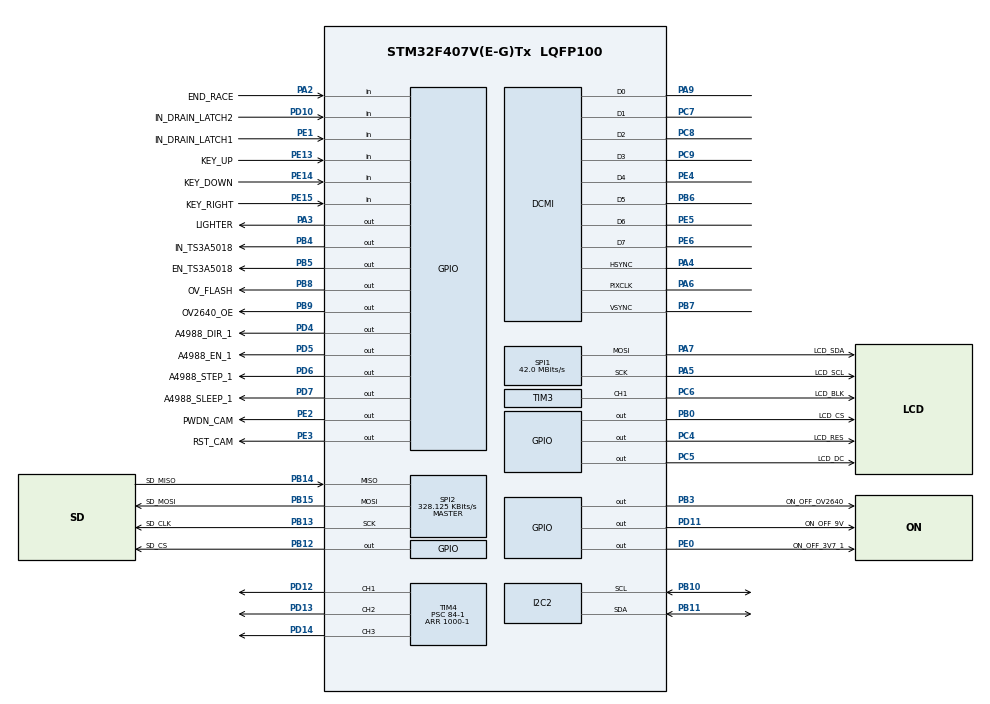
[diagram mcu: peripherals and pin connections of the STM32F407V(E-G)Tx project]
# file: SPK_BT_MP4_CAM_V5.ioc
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DCMI.PCKPolarity=DCMI_PCKPOLARITY_RISING
Dma.DCMI.3.Direction=DMA_PERIPH_TO_MEMORY
Dma.DCMI.3.FIFOMode=DMA_FIFOMODE_DISABLE
Dma.DCMI.3.Instance=DMA2_Stream1
Dma.DCMI.3.MemDataAlignment=DMA_MDATAALIGN_WORD
Dma.DCMI.3.MemInc=DMA_MINC_ENABLE
Dma.DCMI.3.Mode=DMA_NORMAL
Dma.DCMI.3.PeriphDataAlignment=DMA_PDATAALIGN_WORD
Dma.DCMI.3.PeriphInc=DMA_PINC_DISABLE
Dma.DCMI.3.Priority=DMA_PRIORITY_LOW
Dma.Request0=SPI1_TX
Dma.Request1=SPI2_RX
Dma.Request2=SPI2_TX
Dma.Request3=DCMI
Dma.SPI1_TX.0.Direction=DMA_MEMORY_TO_PERIPH
Dma.SPI1_TX.0.FIFOMode=DMA_FIFOMODE_ENABLE
Dma.SPI1_TX.0.FIFOThreshold=DMA_FIFO_THRESHOLD_FULL
Dma.SPI1_TX.0.Instance=DMA2_Stream3
Dma.SPI1_TX.0.MemBurst=DMA_MBURST_INC8
Dma.SPI1_TX.0.MemDataAlignment=DMA_MDATAALIGN_HALFWORD
Dma.SPI1_TX.0.MemInc=DMA_MINC_ENABLE
Dma.SPI1_TX.0.Mode=DMA_NORMAL
Dma.SPI1_TX.0.PeriphBurst=DMA_PBURST_SINGLE
Dma.SPI1_TX.0.PeriphDataAlignment=DMA_PDATAALIGN_HALFWORD
Dma.SPI1_TX.0.PeriphInc=DMA_PINC_DISABLE
Dma.SPI1_TX.0.Priority=DMA_PRIORITY_LOW
Dma.SPI2_RX.1.Direction=DMA_PERIPH_TO_MEMORY
Dma.SPI2_RX.1.FIFOMode=DMA_FIFOMODE_ENABLE
Dma.SPI2_RX.1.FIFOThreshold=DMA_FIFO_THRESHOLD_FULL
Dma.SPI2_RX.1.Instance=DMA1_Stream3
Dma.SPI2_RX.1.MemBurst=DMA_MBURST_INC8
Dma.SPI2_RX.1.MemDataAlignment=DMA_MDATAALIGN_BYTE
Dma.SPI2_RX.1.MemInc=DMA_MINC_ENABLE
Dma.SPI2_RX.1.Mode=DMA_NORMAL
Dma.SPI2_RX.1.PeriphBurst=DMA_PBURST_SINGLE
Dma.SPI2_RX.1.PeriphDataAlignment=DMA_PDATAALIGN_BYTE
Dma.SPI2_RX.1.PeriphInc=DMA_PINC_DISABLE
Dma.SPI2_RX.1.Priority=DMA_PRIORITY_MEDIUM
Dma.SPI2_TX.2.Direction=DMA_MEMORY_TO_PERIPH
Dma.SPI2_TX.2.FIFOMode=DMA_FIFOMODE_ENABLE
Dma.SPI2_TX.2.FIFOThreshold=DMA_FIFO_THRESHOLD_FULL
Dma.SPI2_TX.2.Instance=DMA1_Stream4
Dma.SPI2_TX.2.MemBurst=DMA_MBURST_INC8
Dma.SPI2_TX.2.MemDataAlignment=DMA_MDATAALIGN_BYTE
Dma.SPI2_TX.2.MemInc=DMA_MINC_ENABLE
Dma.SPI2_TX.2.Mode=DMA_NORMAL
Dma.SPI2_TX.2.PeriphBurst=DMA_PBURST_SINGLE
Dma.SPI2_TX.2.PeriphDataAlignment=DMA_PDATAALIGN_BYTE
Dma.SPI2_TX.2.PeriphInc=DMA_PINC_DISABLE
Dma.SPI2_TX.2.Priority=DMA_PRIORITY_MEDIUM
Mcu.Family=STM32F4
Mcu.Name=STM32F407V(E-G)Tx
Mcu.Package=LQFP100
NVIC.DCMI_IRQn=true\:0\:0\:true\:false\:true\:true\:true\:true
NVIC.DMA1_Stream3_IRQn=true\:2\:0\:true\:false\:true\:false\:true\:true
NVIC.DMA1_Stream4_IRQn=true\:2\:0\:true\:false\:true\:false\:true\:true
NVIC.DMA2_Stream1_IRQn=true\:0\:0\:true\:false\:true\:false\:true\:true
NVIC.DMA2_Stream3_IRQn=true\:3\:0\:true\:false\:true\:false\:true\:true
NVIC.PriorityGroup=NVIC_PRIORITYGROUP_4
NVIC.TIM1_UP_TIM10_IRQn=true\:0\:0\:false\:false\:true\:true\:true\:true
NVIC.TIM4_IRQn=true\:0\:0\:false\:false\:true\:true\:true\:true
PA13.Mode=Serial_Wire
PA13.Signal=SYS_JTMS-SWDIO
PA14.Mode=Serial_Wire
PA14.Signal=SYS_JTCK-SWCLK
PA15.Signal=I2S3_WS
PA2.GPIO_Label=END_RACE
PA2.GPIO_PuPd=GPIO_PULLDOWN
PA2.Signal=GPIO_Input
PA3.GPIO_Label=LIGHTER
PA3.Signal=GPIO_Output
PA4.GPIO_PuPd=GPIO_NOPULL
PA4.GPIO_Speed=GPIO_SPEED_FREQ_VERY_HIGH
PA4.Mode=Slave_8_bits_External_Synchro
PA4.Signal=DCMI_HSYNC
PA5.GPIO_Label=LCD_SCL
PA5.GPIO_PuPd=GPIO_PULLUP
PA5.Mode=TX_Only_Simplex_Unidirect_Master
PA5.Signal=SPI1_SCK
PA6.GPIO_PuPd=GPIO_NOPULL
PA6.GPIO_Speed=GPIO_SPEED_FREQ_VERY_HIGH
PA6.Mode=Slave_8_bits_External_Synchro
PA6.Signal=DCMI_PIXCLK
PA7.GPIO_Label=LCD_SDA
PA7.GPIO_PuPd=GPIO_PULLUP
PA7.Mode=TX_Only_Simplex_Unidirect_Master
PA7.Signal=SPI1_MOSI
PA9.GPIO_PuPd=GPIO_NOPULL
PA9.GPIO_Speed=GPIO_SPEED_FREQ_VERY_HIGH
PA9.Mode=Slave_8_bits_External_Synchro
PA9.Signal=DCMI_D0
PB0.GPIO_Label=LCD_CS
PB0.GPIO_PuPd=GPIO_PULLUP
PB0.GPIO_Speed=GPIO_SPEED_FREQ_HIGH
PB0.PinState=GPIO_PIN_SET
PB0.Signal=GPIO_Output
PB10.GPIO_Pu=GPIO_NOPULL
PB10.Mode=I2C
PB10.Signal=I2C2_SCL
PB11.GPIO_Pu=GPIO_NOPULL
PB11.Mode=I2C
PB11.Signal=I2C2_SDA
PB12.GPIO_Label=SD_CS
PB12.GPIO_PuPd=GPIO_PULLUP
PB12.GPIO_Speed=GPIO_SPEED_FREQ_HIGH
PB12.PinState=GPIO_PIN_SET
PB12.Signal=GPIO_Output
PB13.GPIO_Label=SD_CLK
PB13.GPIO_PuPd=GPIO_PULLUP
PB13.Mode=Full_Duplex_Master
PB13.Signal=SPI2_SCK
PB14.GPIO_Label=SD_MISO
PB14.GPIO_PuPd=GPIO_PULLUP
PB14.Mode=Full_Duplex_Master
PB14.Signal=SPI2_MISO
PB15.GPIO_Label=SD_MOSI
PB15.GPIO_PuPd=GPIO_PULLUP
PB15.Mode=Full_Duplex_Master
PB15.Signal=SPI2_MOSI
PB3.GPIO_Label=ON_OFF_OV2640
PB3.PinState=GPIO_PIN_RESET
PB3.Signal=GPIO_Output
PB4.GPIO_Label=IN_TS3A5018
PB4.Signal=GPIO_Output
PB5.GPIO_Label=EN_TS3A5018
PB5.Signal=GPIO_Output
PB6.GPIO_PuPd=GPIO_NOPULL
PB6.GPIO_Speed=GPIO_SPEED_FREQ_VERY_HIGH
PB6.Mode=Slave_8_bits_External_Synchro
PB6.Signal=DCMI_D5
PB7.GPIO_PuPd=GPIO_NOPULL
PB7.GPIO_Speed=GPIO_SPEED_FREQ_VERY_HIGH
PB7.Mode=Slave_8_bits_External_Synchro
PB7.Signal=DCMI_VSYNC
PB8.GPIO_Label=OV_FLASH
PB8.Signal=GPIO_Output
PB9.GPIO_Label=OV2640_OE
PB9.Signal=GPIO_Output
PC10.Signal=I2S3_CK
PC12.Signal=I2S3_SD
PC4.GPIO_Label=LCD_RES
PC4.GPIO_Speed=GPIO_SPEED_FREQ_HIGH
PC4.PinState=GPIO_PIN_SET
PC4.Signal=GPIO_Output
PC5.GPIO_Label=LCD_DC
PC5.GPIO_Speed=GPIO_SPEED_FREQ_HIGH
PC5.PinState=GPIO_PIN_SET
PC5.Signal=GPIO_Output
PC6.GPIO_Label=LCD_BLK
PC6.Signal=S_TIM3_CH1
PC7.GPIO_PuPd=GPIO_NOPULL
PC7.GPIO_Speed=GPIO_SPEED_FREQ_VERY_HIGH
PC7.Mode=Slave_8_bits_External_Synchro
PC7.Signal=DCMI_D1
PC8.GPIO_PuPd=GPIO_NOPULL
PC8.GPIO_Speed=GPIO_SPEED_FREQ_VERY_HIGH
PC8.Mode=Slave_8_bits_External_Synchro
PC8.Signal=DCMI_D2
PC9.GPIO_PuPd=GPIO_NOPULL
PC9.GPIO_Speed=GPIO_SPEED_FREQ_VERY_HIGH
PC9.Mode=Slave_8_bits_External_Synchro
PC9.Signal=DCMI_D3
PD10.GPIO_Label=IN_DRAIN_LATCH2
PD10.GPIO_PuPd=GPIO_PULLUP
PD10.Signal=GPIO_Input
PD11.GPIO_Label=ON_OFF_9V
PD11.PinState=GPIO_PIN_RESET
PD11.Signal=GPIO_Output
PD12.Signal=S_TIM4_CH1
PD13.Signal=S_TIM4_CH2
PD14.Signal=S_TIM4_CH3
PD4.GPIO_Label=A4988_DIR_1
PD4.Signal=GPIO_Output
PD5.GPIO_Label=A4988_EN_1
PD5.PinState=GPIO_PIN_SET
PD5.Signal=GPIO_Output
PD6.GPIO_Label=A4988_STEP_1
PD6.Signal=GPIO_Output
PD7.GPIO_Label=A4988_SLEEP_1
PD7.Signal=GPIO_Output
PE0.GPIO_Label=ON_OFF_3V7_1
PE0.Signal=GPIO_Output
PE1.GPIO_Label=IN_DRAIN_LATCH1
PE1.GPIO_PuPd=GPIO_PULLUP
PE1.Signal=GPIO_Input
PE13.GPIO_Label=KEY_UP
PE13.GPIO_Mode=GPIO_MODE_INPUT
PE13.GPIO_PuPd=GPIO_PULLUP
PE13.Signal=GPIO_Input
PE14.GPIO_Label=KEY_DOWN
PE14.GPIO_Mode=GPIO_MODE_INPUT
PE14.GPIO_PuPd=GPIO_PULLUP
PE14.Signal=GPIO_Input
PE15.GPIO_Label=KEY_RIGHT
PE15.GPIO_Mode=GPIO_MODE_INPUT
PE15.GPIO_PuPd=GPIO_PULLUP
PE15.Signal=GPIO_Input
PE2.GPIO_Label=PWDN_CAM
PE2.GPIO_Speed=GPIO_SPEED_FREQ_VERY_HIGH
PE2.PinState=GPIO_PIN_SET
PE2.Signal=GPIO_Output
PE3.GPIO_Label=RST_CAM
PE3.GPIO_PuPd=GPIO_NOPULL
PE3.GPIO_Speed=GPIO_SPEED_FREQ_VERY_HIGH
PE3.PinState=GPIO_PIN_SET
PE3.Signal=GPIO_Output
PE4.GPIO_PuPd=GPIO_NOPULL
PE4.GPIO_Speed=GPIO_SPEED_FREQ_VERY_HIGH
PE4.Mode=Slave_8_bits_External_Synchro
PE4.Signal=DCMI_D4
PE5.GPIO_PuPd=GPIO_NOPULL
PE5.GPIO_Speed=GPIO_SPEED_FREQ_VERY_HIGH
PE5.Mode=Slave_8_bits_External_Synchro
PE5.Signal=DCMI_D6
PE6.GPIO_PuPd=GPIO_NOPULL
PE6.GPIO_Speed=GPIO_SPEED_FREQ_VERY_HIGH
PE6.Mode=Slave_8_bits_External_Synchro
PE6.Signal=DCMI_D7
PH0-OSC_IN.Mode=HSE-External-Oscillator
PH0-OSC_IN.Signal=RCC_OSC_IN
PH1-OSC_OUT.Mode=HSE-External-Oscillator
PH1-OSC_OUT.Signal=RCC_OSC_OUT
ProjectManager.HeapSize=0x200
ProjectManager.StackSize=0x400
ProjectManager.TargetToolchain=STM32CubeIDE
RCC.48MHZClocksFreq_Value=84000000
RCC.AHBFreq_Value=168000000
RCC.APB1CLKDivider=RCC_HCLK_DIV4
RCC.APB1Freq_Value=42000000
RCC.APB1TimFreq_Value=84000000
RCC.APB2CLKDivider=RCC_HCLK_DIV2
RCC.APB2Freq_Value=84000000
RCC.APB2TimFreq_Value=168000000
RCC.CortexFreq_Value=168000000
RCC.EnbaleCSS=true
RCC.HCLKFreq_Value=168000000
RCC.HSE_VALUE=8000000
RCC.HSI_VALUE=16000000
RCC.LSE_VALUE=32768
RCC.PLLM=4
RCC.PLLN=168
RCC.PLLSourceVirtual=RCC_PLLSOURCE_HSE
RCC.RCC_MCO1Source=RCC_MCO1SOURCE_PLLCLK
RCC.SYSCLKFreq_VALUE=168000000
RCC.SYSCLKSource=RCC_SYSCLKSOURCE_PLLCLK
RCC.VCOOutputFreq_Value=336000000
SH.S_TIM3_CH1.0=TIM3_CH1,PWM Generation1 CH1
SH.S_TIM4_CH1.0=TIM4_CH1,PWM Generation1 CH1
SH.S_TIM4_CH2.0=TIM4_CH2,PWM Generation2 CH2
SH.S_TIM4_CH3.0=TIM4_CH3,PWM Generation3 CH3
SPI1.BaudRatePrescaler=SPI_BAUDRATEPRESCALER_2
SPI1.CLKPhase=SPI_PHASE_2EDGE
SPI1.CLKPolarity=SPI_POLARITY_HIGH
SPI1.CalculateBaudRate=42.0 MBits/s
SPI1.DataSize=SPI_DATASIZE_16BIT
SPI1.Direction=SPI_DIRECTION_2LINES
SPI1.Mode=SPI_MODE_MASTER
SPI1.VirtualType=VM_MASTER
SPI2.BaudRatePrescaler=SPI_BAUDRATEPRESCALER_128
SPI2.CalculateBaudRate=328.125 KBits/s
SPI2.Direction=SPI_DIRECTION_2LINES
SPI2.Mode=SPI_MODE_MASTER
SPI2.VirtualType=VM_MASTER
TIM10.Period=420-1
TIM10.Prescaler=1000-1
TIM3.Channel-PWM\ Generation1\ CH1=TIM_CHANNEL_1
TIM3.Period=210-1
TIM3.Prescaler=1000-1
TIM3.Pulse-PWM\ Generation1\ CH1=105
TIM4.Channel-PWM\ Generation1\ CH1=TIM_CHANNEL_1
TIM4.Channel-PWM\ Generation2\ CH2=TIM_CHANNEL_2
TIM4.Channel-PWM\ Generation3\ CH3=TIM_CHANNEL_3
TIM4.Period=1000-1
TIM4.Prescaler=84-1
VP_TIM10_VS_ClockSourceINT.Mode=Enable_Timer
board=custom

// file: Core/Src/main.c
/* USER CODE BEGIN Header */
/**
  ******************************************************************************
  * @file           : main.c
  * @brief          : Main program body
  ******************************************************************************
  * @attention
  *
  * Copyright (c) 2026 STMicroelectronics.
  * All rights reserved.
  *
  * This software is licensed under terms that can be found in the LICENSE file
  * in the root directory of this software component.
  * If no LICENSE file comes with this software, it is provided AS-IS.
  *
  ******************************************************************************
  */
/* USER CODE END Header */
#include "main.h"

/* USER CODE BEGIN Includes */
#include "display.h" 		//display driver
#include "st7789.h"
#include "ili9341.h" 		//display support based on ili9341 controller
#include "pcm5102.h" 		//DAC driver PCM5102
#include "ff.h"		 		//FatFS library
#include "avi.h"	 		//AVI player
#include "filemanager.h"	//file manager
#include "keyboard.h"		//module for working with buttons

#include "common.h"
#include "ov2640.h"
#include "Anglas_MotorPAP.h"
/* USER CODE END Includes */

/* USER CODE BEGIN PTD */
//счетчик "системного времени", мс
volatile uint32_t millis = 0;

//Переменные для библиотеки FatFs
char Path[4];
FATFS FatFS;

/* USER CODE END PTD */

/* USER CODE BEGIN PD */
#define MAX_PICTURE_BUFF 54400  //320x170
uint16_t pBuffer[MAX_PICTURE_BUFF];
/* USER CODE END PD */

DCMI_HandleTypeDef hdcmi;
DMA_HandleTypeDef hdma_dcmi;

I2C_HandleTypeDef hi2c2;

TIM_HandleTypeDef htim4;

void SystemClock_Config(void);
static void MX_GPIO_Init(void);
static void MX_DMA_Init(void);
static void MX_SPI1_Init(void);
static void MX_TIM3_Init(void);
static void MX_SPI2_Init(void);
static void MX_TIM10_Init(void);
static void MX_DCMI_Init(void);
static void MX_I2C2_Init(void);
static void MX_TIM4_Init(void);
/* USER CODE BEGIN PFP */
void PWM_set_Freq_DutyCycle(uint32_t canal, uint16_t freq, uint8_t duty);
void delay_us(uint32_t time);
/* USER CODE END PFP */

/* USER CODE BEGIN 0 */
static void DWT_init (void)
{
	if (!(CoreDebug->DEMCR & CoreDebug_DEMCR_TRCENA_Msk))	{
		CoreDebug->DEMCR |= CoreDebug_DEMCR_TRCENA_Msk;
	#ifdef __CORE_CM7_H_GENERIC
	        DWT->LAR = 0xC5ACCE55;  //unlocking access to the DWT register
	#endif
	   DWT->CYCCNT = 0;
	   DWT->CTRL |= DWT_CTRL_CYCCNTENA_Msk;
	}
}
/* USER CODE END 0 */

int main(void)
{

  /* USER CODE BEGIN 1 */
  LL_FLASH_SetLatency(LL_FLASH_LATENCY_5);   // Ajusta la latencia de la Flash para 168 MHz (evita fallos)
  LL_FLASH_EnablePrefetch();                 // Adelanta instrucciones desde Flash (mejor rendimiento)
  LL_FLASH_EnableInstCache();                // Cachea instrucciones (CPU más rápida)
  LL_FLASH_EnableDataCache();                // Cachea datos desde Flash (accesos más rápidos)
  /* USER CODE END 1 */

  /* MCU Configuration--------------------------------------------------------*/

  /* Reset of all peripherals, Initializes the Flash interface and the Systick. */
  HAL_Init();

  /* Configure the system clock */
  SystemClock_Config();

  /* USER CODE BEGIN SysInit */
  //настраиваем системный таймер (прерывания 1000 раз в секунду)
  SysTick_Config(SystemCoreClock/1000);
  /* USER CODE END SysInit */

  /* Initialize all configured peripherals */
  MX_GPIO_Init();
  MX_DMA_Init();
  MX_SPI1_Init();
  MX_TIM3_Init();
  MX_SPI2_Init();
  MX_TIM10_Init();
  MX_DCMI_Init();
  MX_I2C2_Init();
  MX_TIM4_Init();
  /* USER CODE BEGIN 2 */
  /* ---------------------------- PULSADORES ------------------------------- */
  //KEYB_Add_Button(KEY_LEFT_GPIO_Port, KEY_LEFT_Pin, KEYB_LEFT, KEYB_BUTTON_ACTIVE);
  KEYB_Add_Button(KEY_RIGHT_GPIO_Port, KEY_RIGHT_Pin, KEYB_RIGHT, KEYB_BUTTON_ACTIVE);
  KEYB_Add_Button(KEY_UP_GPIO_Port, KEY_UP_Pin, KEYB_UP, KEYB_BUTTON_ACTIVE);
  KEYB_Add_Button(KEY_DOWN_GPIO_Port, KEY_DOWN_Pin, KEYB_DOWN, KEYB_BUTTON_ACTIVE);

  TIM10->DIER |= TIM_DIER_UIE;
  TIM10->CR1  |= TIM_CR1_CEN;
  /* ------------------------------------------------------------------------------- */

  //Initialize I2S3
  Init_DAC();
  //Setup_DAC(SPI3, 44100, LL_I2S_DATAFORMAT_16B);

  DWT_init();

  //-------------------Setting parameters and initializing the display ---------------------
  LCD_BackLight_data bl_dat = { .htim_bk = TIM3,
								.channel_htim_bk = LL_TIM_CHANNEL_CH1,
								.blk_port = 0,
								.blk_pin = 0,
								.bk_percent = 100 };

  LCD_DMA_TypeDef hdma_spi1_tx = { .dma = DMA2,
								   .stream = LL_DMA_STREAM_3 };

  LCD_SPI_Connected_data spi_dat = { .spi = SPI1,
									 .dma_tx = hdma_spi1_tx,
									 .reset_port = LCD_RES_GPIO_Port,
									 .reset_pin = LCD_RES_Pin,
									 .dc_port = LCD_DC_GPIO_Port,
									 .dc_pin = LCD_DC_Pin,
									 .cs_port = LCD_CS_GPIO_Port,
									 .cs_pin = LCD_CS_Pin  };
  #ifndef LCD_DYNAMIC_MEM
  	  LCD_Handler lcd1;
  #endif

  //For display on controller ST7789 170x320
  //ffmpeg -i che.mp4 -c:a mp3 -c:v mjpeg -s 320x170 -r 23.98 -q 10 che.avi
  LCD = LCD_DisplayAdd( LCD,
  #ifndef LCD_DYNAMIC_MEM
						&lcd1,
  #endif
						170,//170
						320,//320
						ST7789_CONTROLLER_WIDTH,
						ST7789_CONTROLLER_HEIGHT,
						//queda original
						35,
						0,
						PAGE_ORIENTATION_LANDSCAPE_MIRROR,

						//pruebas para tener buena orientacion
						/*-35,
						0,
						PAGE_ORIENTATION_LANDSCAPE,*/

						ST7789_Init,
						ST7789_SetWindow,
						ST7789_SleepIn,
						ST7789_SleepOut,
						&spi_dat,
						LCD_DATA_16BIT_BUS,
						bl_dat);

  /*
  //For display on controller ST7789 135x240
  //ffmpeg -i che.mp4 -c:a mp3 -c:v mjpeg -s 240x135 -r 23.98 -q 10 che.avi
  LCD = LCD_DisplayAdd( LCD,
  #ifndef LCD_DYNAMIC_MEM
						&lcd1,
  #endif
						135,//170
						240,//320
						ST7789_CONTROLLER_WIDTH,
						ST7789_CONTROLLER_HEIGHT,
						//Задаем смещение по ширине и высоте для нестандартных или бракованных дисплеев:
						-53,//-35
						40,//0
						PAGE_ORIENTATION_LANDSCAPE,// PAGE_ORIENTATION_LANDSCAPE
						ST7789_Init,
						ST7789_SetWindow,
						ST7789_SleepIn,
						ST7789_SleepOut,
						&spi_dat,
						LCD_DATA_16BIT_BUS,
						bl_dat);
  */

  /*
  //For display on controller ILI9341
  LCD = LCD_DisplayAdd( LCD,
  #ifndef LCD_DYNAMIC_MEM
						&lcd1,
  #endif
						  320,
						  240,
						  ILI9341_CONTROLLER_WIDTH,
						  ILI9341_CONTROLLER_HEIGHT,
						  //Set the offset in width and height for non-standard or defective displays:
						  0,		//display matrix width offset
						  0,		//display matrix height offset
						  //PAGE_ORIENTATION_PORTRAIT,
						  //PAGE_ORIENTATION_PORTRAIT_MIRROR,
						  PAGE_ORIENTATION_LANDSCAPE_MIRROR,
						  ILI9341_Init,
						  ILI9341_SetWindow,
						  ILI9341_SleepIn,
						  ILI9341_SleepOut,
						  &spi_dat,
						  LCD_DATA_16BIT_BUS,
						  bl_dat );
  */

  LCD_Handler *lcd = LCD; //pointer to the first display in the list
  LCD_Init(lcd);
  LCD_Fill(lcd, 0x319bb1);
  //------------------------------------------------------------------------------------------

  //----------------------------------- Mounting the disc -----------------------------------
  (void)f_mount(&FatFS, Path, 0);
  //------------------------------------------------------------------------------------------

  /* ----------------------------Setting up a file manager ---------------------------- */
  /* Define a color scheme */
  File_Manager_Color_Scheme color_scheme_pl = { COLOR_YELLOW,		/* directory name text color */
												COLOR_WHITE,		/* file name text color */
												COLOR_GREEN,		/* text color of the selected file/directory */
												0x319bb1,			/* manager window background color (for empty lines) */
												0x319bb1,			/* background color of even rows */
												0x319bb1,			/* background color of odd rows */
												COLOR_LIGHTGREY,	/* cursor color of the current file/directory */
												COLOR_LIGHTGREY,	/* vertical scroll slider color */
												0x319bb1,			/* vertical scroll bar color */
												1					/* cursor color flag:
																		  0 - the text of the selected file/directory is circled
																			  cursor color rectangle (cursor_color).
																		  >0 -the text background of the selected file/directory is equal to
																			  cursor color (cursor_color) */
												};

  File_Manager_Handler *fm = FileManagerNew();	/* Creating a File Manager Handler */
  fm->SetDisplay(fm, lcd);						/* Display showing the file manager (pointer) */
  fm->SetWin(fm, 6, 0, lcd->Width-6, lcd->Height);/* File manager window options:
													   - horizontal position of the upper left corner of the window;
													   - vertical position of the upper left corner of the window;
													   - window width;
													   - window height. */
  fm->SetColor(fm, &color_scheme_pl);				 /* Color scheme (index) */
  fm->SetFont(fm, &Font_12x20);					 /* Font (pointer) */
  fm->SetKeys(fm, KEYB_UP, KEYB_DOWN, KEYB_RIGHT); /* Control buttons:
														- button bit number up;
														- button bit number down;
														- bit number of the enter/select button. */
  //-----------------------------------------------------------------------------------------

  //Splash screen with information about the program and author
  //AVIIntro(lcd);
  uint8_t f_popup = 1;

  //LL_GPIO_ResetOutputPin(GPIOE, IN_TS3A5018_Pin);LL_mDelay(20);//AUDIO BT
  //LL_GPIO_SetOutputPin(IN_TS3A5018_GPIO_Port, IN_TS3A5018_Pin);LL_mDelay(20);//AUDIO STM32

  //LL_GPIO_SetOutputPin(ON_OFF_3V7_1_GPIO_Port, ON_OFF_3V7_1_Pin);LL_mDelay(100);//ENCIENDO PARLANTE
  //LL_GPIO_ResetOutputPin(GPIOD, ON_OFF_3V7_1_Pin);LL_mDelay(100);//APAGO PARLANTE

  //LL_GPIO_SetOutputPin(GPIOD, ON_OFF_3V7_2_Pin);LL_mDelay(100);//ENCIENDO MT3608 +9V
  //LL_GPIO_ResetOutputPin(GPIOD, ON_OFF_3V7_1_Pin);LL_mDelay(100);//APAGO MT3608 +9V

  //para probar el step up de 9v
//  while(1){
//	if (LL_GPIO_IsInputPinSet(GPIOE, KEY_UP_Pin) == 0) {
//		LL_GPIO_ResetOutputPin(GPIOD, ON_OFF_3V7_2_Pin);LL_mDelay(250);//ENCIENDO MT3608 +9V
//		LL_mDelay(250);
//	}
//	if (LL_GPIO_IsInputPinSet(GPIOE, KEY_DOWN_Pin) == 0) {
//		LL_GPIO_SetOutputPin(GPIOD, ON_OFF_3V7_2_Pin);LL_mDelay(250);//ENCIENDO MT3608 +9V
//	}
//  }

  //uint32_t keys=0;
  //keys = KEYB_Inkeys();
  //while (keys & (1 << KEYB_RIGHT));

  while(!KEYB_kbhit());

  //LL_GPIO_SetOutputPin(IN_TS3A5018_GPIO_Port, IN_TS3A5018_Pin);LL_mDelay(20);//AUDIO STM32

  //Todo esto es para encender e iniciar la camara
  LL_GPIO_SetOutputPin(OV2640_OE_GPIO_Port, OV2640_OE_Pin);LL_mDelay(50);//ON cristal activo 24mhz
  LL_GPIO_SetOutputPin(ON_OFF_OV2640_GPIO_Port, ON_OFF_OV2640_Pin);LL_mDelay(50);//enciendo reguladores de la camara
  ov2640_Init(0x60, CAMERA_Monitor);

  LL_GPIO_ResetOutputPin(GPIOE, IN_TS3A5018_Pin);LL_mDelay(20);//AUDIO BT
  LL_GPIO_SetOutputPin(ON_OFF_3V7_1_GPIO_Port, ON_OFF_3V7_1_Pin);LL_mDelay(100);//ENCIENDO PARLANTE
  LL_GPIO_SetOutputPin(ON_OFF_9V_GPIO_Port, ON_OFF_9V_Pin);//enciendo +9V

  uint8_t duty=10;
  uint8_t flagMotor=0;
  /* USER CODE END 2 */

  /* Infinite loop */
  /* USER CODE BEGIN WHILE */
  while (1)
  {
	    HAL_DCMI_Start_DMA(&hdcmi, DCMI_MODE_SNAPSHOT, (uint32_t)pBuffer, MAX_PICTURE_BUFF/2);
	    while (HAL_DCMI_GetState(&hdcmi) != HAL_DCMI_STATE_READY);
	    LCD_DrawImage(lcd, 0, 0, 320, 170, pBuffer,0);

	    //Probar si funciona pulsadores
		if (LL_GPIO_IsInputPinSet(KEY_UP_GPIO_Port, KEY_UP_Pin) == 0) {
			//LL_GPIO_SetOutputPin(OV_FLASH_GPIO_Port, OV_FLASH_Pin);//enciendo flash
			//LL_GPIO_SetOutputPin(ON_OFF_9V_GPIO_Port, ON_OFF_9V_Pin);//enciendo +9V
			flagMotor=1;
			LL_mDelay(180);
		}

		if (LL_GPIO_IsInputPinSet(KEY_DOWN_GPIO_Port, KEY_DOWN_Pin) == 0) {
			//LL_GPIO_ResetOutputPin(OV_FLASH_GPIO_Port, OV_FLASH_Pin);//apago flash
			//LL_GPIO_ResetOutputPin(ON_OFF_9V_GPIO_Port, ON_OFF_9V_Pin);//apago +9V
			flagMotor=0;
			LL_mDelay(180);
		}
		if(flagMotor){
			MotorPAP_1(5);
		}else{

		}

		if (LL_GPIO_IsInputPinSet(KEY_RIGHT_GPIO_Port, KEY_RIGHT_Pin) == 0) {
			PWM_set_Freq_DutyCycle(TIM_CHANNEL_1, 1000, duty);//B
			PWM_set_Freq_DutyCycle(TIM_CHANNEL_2, 1000, duty);//G
			PWM_set_Freq_DutyCycle(TIM_CHANNEL_3, 1000, duty);//R
			duty+=10;
			if(duty > 60) duty=0;//duty 50 es el 100% para que este 50% encendido y 50%apagado y disipe menos potencia el led
			LL_mDelay(180);
		}

	/*
  	// Fill the display with blue (the background color of the file manager)
  	LCD_Fill(lcd, 0x319bb1);
  	// "Pop-up" window of the file manager
		if (f_popup) {
			FileManagerPopupWin(fm, 5);
			f_popup = 0;
		}
		// Launch file manager
		fm->Show(fm);
		// Check the shutdown status of the file manager
		if (fm->GetStatus(fm) == File_Manager_OK) { // Completing without errors with file selection?
			// Launch the video player
			PlayAVI(fm->GetFilePath(fm), fm->GetFileName(fm), lcd, 0, 0, lcd->Width, lcd->Height);
		}
		else {
			// Display a message that the file manager completed with an error
			LCD_WriteString(lcd, 20, 0, "Error FileManager!", fm->font, fm->color_scheme->text_color_file, fm->color_scheme->bg_color, LCD_SYMBOL_PRINT_FAST);
			// Wait for any button to be pressed
			while(!KEYB_kbhit()) { }
		}
		*/

    /* USER CODE END WHILE */

  }
}

void SystemClock_Config(void)
{
  LL_FLASH_SetLatency(LL_FLASH_LATENCY_5);
  while(LL_FLASH_GetLatency()!= LL_FLASH_LATENCY_5)
  {
  }
  LL_PWR_SetRegulVoltageScaling(LL_PWR_REGU_VOLTAGE_SCALE1);
  LL_RCC_HSE_Enable();

   /* Wait till HSE is ready */
  while(LL_RCC_HSE_IsReady() != 1)
  {

  }
  LL_RCC_HSE_EnableCSS();
  LL_RCC_PLL_ConfigDomain_SYS(LL_RCC_PLLSOURCE_HSE, LL_RCC_PLLM_DIV_4, 168, LL_RCC_PLLP_DIV_2);
  LL_RCC_PLL_Enable();

   /* Wait till PLL is ready */
  while(LL_RCC_PLL_IsReady() != 1)
  {

  }
  while (LL_PWR_IsActiveFlag_VOS() == 0)
  {
  }
  LL_RCC_SetAHBPrescaler(LL_RCC_SYSCLK_DIV_1);
  LL_RCC_SetAPB1Prescaler(LL_RCC_APB1_DIV_4);
  LL_RCC_SetAPB2Prescaler(LL_RCC_APB2_DIV_2);
  LL_RCC_SetSysClkSource(LL_RCC_SYS_CLKSOURCE_PLL);

   /* Wait till System clock is ready */
  while(LL_RCC_GetSysClkSource() != LL_RCC_SYS_CLKSOURCE_STATUS_PLL)
  {

  }
  LL_SetSystemCoreClock(168000000);

   /* Update the time base */
  if (HAL_InitTick (TICK_INT_PRIORITY) != HAL_OK)
  {
    Error_Handler();
  }
}

static void MX_DCMI_Init(void)
{

  hdcmi.Instance = DCMI;
  hdcmi.Init.SynchroMode = DCMI_SYNCHRO_HARDWARE;
  hdcmi.Init.PCKPolarity = DCMI_PCKPOLARITY_RISING;
  hdcmi.Init.VSPolarity = DCMI_VSPOLARITY_LOW;
  hdcmi.Init.HSPolarity = DCMI_HSPOLARITY_LOW;
  hdcmi.Init.CaptureRate = DCMI_CR_ALL_FRAME;
  hdcmi.Init.ExtendedDataMode = DCMI_EXTEND_DATA_8B;
  hdcmi.Init.JPEGMode = DCMI_JPEG_DISABLE;
  if (HAL_DCMI_Init(&hdcmi) != HAL_OK)
  {
    Error_Handler();
  }

}

static void MX_I2C2_Init(void)
{

  hi2c2.Instance = I2C2;
  hi2c2.Init.ClockSpeed = 100000;
  hi2c2.Init.DutyCycle = I2C_DUTYCYCLE_2;
  hi2c2.Init.OwnAddress1 = 0;
  hi2c2.Init.AddressingMode = I2C_ADDRESSINGMODE_7BIT;
  hi2c2.Init.DualAddressMode = I2C_DUALADDRESS_DISABLE;
  hi2c2.Init.OwnAddress2 = 0;
  hi2c2.Init.GeneralCallMode = I2C_GENERALCALL_DISABLE;
  hi2c2.Init.NoStretchMode = I2C_NOSTRETCH_DISABLE;
  if (HAL_I2C_Init(&hi2c2) != HAL_OK)
  {
    Error_Handler();
  }

}

static void MX_SPI1_Init(void)
{

  LL_SPI_InitTypeDef SPI_InitStruct = {0};

  LL_GPIO_InitTypeDef GPIO_InitStruct = {0};

  /* Peripheral clock enable */
  LL_APB2_GRP1_EnableClock(LL_APB2_GRP1_PERIPH_SPI1);

  LL_AHB1_GRP1_EnableClock(LL_AHB1_GRP1_PERIPH_GPIOA);
  /**SPI1 GPIO Configuration
  PA5   ------> SPI1_SCK
  PA7   ------> SPI1_MOSI
  */
  GPIO_InitStruct.Pin = LCD_SCL_Pin|LCD_SDA_Pin;
  GPIO_InitStruct.Mode = LL_GPIO_MODE_ALTERNATE;
  GPIO_InitStruct.Speed = LL_GPIO_SPEED_FREQ_VERY_HIGH;
  GPIO_InitStruct.OutputType = LL_GPIO_OUTPUT_PUSHPULL;
  GPIO_InitStruct.Pull = LL_GPIO_PULL_UP;
  GPIO_InitStruct.Alternate = LL_GPIO_AF_5;
  LL_GPIO_Init(GPIOA, &GPIO_InitStruct);

  /* SPI1 DMA Init */

  /* SPI1_TX Init */
  LL_DMA_SetChannelSelection(DMA2, LL_DMA_STREAM_3, LL_DMA_CHANNEL_3);

  LL_DMA_SetDataTransferDirection(DMA2, LL_DMA_STREAM_3, LL_DMA_DIRECTION_MEMORY_TO_PERIPH);

  LL_DMA_SetStreamPriorityLevel(DMA2, LL_DMA_STREAM_3, LL_DMA_PRIORITY_LOW);

  LL_DMA_SetMode(DMA2, LL_DMA_STREAM_3, LL_DMA_MODE_NORMAL);

  LL_DMA_SetPeriphIncMode(DMA2, LL_DMA_STREAM_3, LL_DMA_PERIPH_NOINCREMENT);

  LL_DMA_SetMemoryIncMode(DMA2, LL_DMA_STREAM_3, LL_DMA_MEMORY_INCREMENT);

  LL_DMA_SetPeriphSize(DMA2, LL_DMA_STREAM_3, LL_DMA_PDATAALIGN_HALFWORD);

  LL_DMA_SetMemorySize(DMA2, LL_DMA_STREAM_3, LL_DMA_MDATAALIGN_HALFWORD);

  LL_DMA_EnableFifoMode(DMA2, LL_DMA_STREAM_3);

  LL_DMA_SetFIFOThreshold(DMA2, LL_DMA_STREAM_3, LL_DMA_FIFOTHRESHOLD_FULL);

  LL_DMA_SetMemoryBurstxfer(DMA2, LL_DMA_STREAM_3, LL_DMA_MBURST_INC8);

  LL_DMA_SetPeriphBurstxfer(DMA2, LL_DMA_STREAM_3, LL_DMA_PBURST_SINGLE);

  /* SPI1 parameter configuration*/
  SPI_InitStruct.TransferDirection = LL_SPI_FULL_DUPLEX;
  SPI_InitStruct.Mode = LL_SPI_MODE_MASTER;
  SPI_InitStruct.DataWidth = LL_SPI_DATAWIDTH_16BIT;
  SPI_InitStruct.ClockPolarity = LL_SPI_POLARITY_HIGH;
  SPI_InitStruct.ClockPhase = LL_SPI_PHASE_2EDGE;
  SPI_InitStruct.NSS = LL_SPI_NSS_SOFT;
  SPI_InitStruct.BaudRate = LL_SPI_BAUDRATEPRESCALER_DIV2;
  SPI_InitStruct.BitOrder = LL_SPI_MSB_FIRST;
  SPI_InitStruct.CRCCalculation = LL_SPI_CRCCALCULATION_DISABLE;
  SPI_InitStruct.CRCPoly = 10;
  LL_SPI_Init(SPI1, &SPI_InitStruct);
  LL_SPI_SetStandard(SPI1, LL_SPI_PROTOCOL_MOTOROLA);

}

static void MX_SPI2_Init(void)
{

  LL_SPI_InitTypeDef SPI_InitStruct = {0};

  LL_GPIO_InitTypeDef GPIO_InitStruct = {0};

  /* Peripheral clock enable */
  LL_APB1_GRP1_EnableClock(LL_APB1_GRP1_PERIPH_SPI2);

  LL_AHB1_GRP1_EnableClock(LL_AHB1_GRP1_PERIPH_GPIOB);
  /**SPI2 GPIO Configuration
  PB13   ------> SPI2_SCK
  PB14   ------> SPI2_MISO
  PB15   ------> SPI2_MOSI
  */
  GPIO_InitStruct.Pin = SD_CLK_Pin|SD_MISO_Pin|SD_MOSI_Pin;
  GPIO_InitStruct.Mode = LL_GPIO_MODE_ALTERNATE;
  GPIO_InitStruct.Speed = LL_GPIO_SPEED_FREQ_VERY_HIGH;
  GPIO_InitStruct.OutputType = LL_GPIO_OUTPUT_PUSHPULL;
  GPIO_InitStruct.Pull = LL_GPIO_PULL_UP;
  GPIO_InitStruct.Alternate = LL_GPIO_AF_5;
  LL_GPIO_Init(GPIOB, &GPIO_InitStruct);

  /* SPI2 DMA Init */

  /* SPI2_RX Init */
  LL_DMA_SetChannelSelection(DMA1, LL_DMA_STREAM_3, LL_DMA_CHANNEL_0);

  LL_DMA_SetDataTransferDirection(DMA1, LL_DMA_STREAM_3, LL_DMA_DIRECTION_PERIPH_TO_MEMORY);

  LL_DMA_SetStreamPriorityLevel(DMA1, LL_DMA_STREAM_3, LL_DMA_PRIORITY_MEDIUM);

  LL_DMA_SetMode(DMA1, LL_DMA_STREAM_3, LL_DMA_MODE_NORMAL);

  LL_DMA_SetPeriphIncMode(DMA1, LL_DMA_STREAM_3, LL_DMA_PERIPH_NOINCREMENT);

  LL_DMA_SetMemoryIncMode(DMA1, LL_DMA_STREAM_3, LL_DMA_MEMORY_INCREMENT);

  LL_DMA_SetPeriphSize(DMA1, LL_DMA_STREAM_3, LL_DMA_PDATAALIGN_BYTE);

  LL_DMA_SetMemorySize(DMA1, LL_DMA_STREAM_3, LL_DMA_MDATAALIGN_BYTE);

  LL_DMA_EnableFifoMode(DMA1, LL_DMA_STREAM_3);

  LL_DMA_SetFIFOThreshold(DMA1, LL_DMA_STREAM_3, LL_DMA_FIFOTHRESHOLD_FULL);

  LL_DMA_SetMemoryBurstxfer(DMA1, LL_DMA_STREAM_3, LL_DMA_MBURST_INC8);

  LL_DMA_SetPeriphBurstxfer(DMA1, LL_DMA_STREAM_3, LL_DMA_PBURST_SINGLE);

  /* SPI2_TX Init */
  LL_DMA_SetChannelSelection(DMA1, LL_DMA_STREAM_4, LL_DMA_CHANNEL_0);

  LL_DMA_SetDataTransferDirection(DMA1, LL_DMA_STREAM_4, LL_DMA_DIRECTION_MEMORY_TO_PERIPH);

  LL_DMA_SetStreamPriorityLevel(DMA1, LL_DMA_STREAM_4, LL_DMA_PRIORITY_MEDIUM);

  LL_DMA_SetMode(DMA1, LL_DMA_STREAM_4, LL_DMA_MODE_NORMAL);

  LL_DMA_SetPeriphIncMode(DMA1, LL_DMA_STREAM_4, LL_DMA_PERIPH_NOINCREMENT);

  LL_DMA_SetMemoryIncMode(DMA1, LL_DMA_STREAM_4, LL_DMA_MEMORY_INCREMENT);

  LL_DMA_SetPeriphSize(DMA1, LL_DMA_STREAM_4, LL_DMA_PDATAALIGN_BYTE);

  LL_DMA_SetMemorySize(DMA1, LL_DMA_STREAM_4, LL_DMA_MDATAALIGN_BYTE);

  LL_DMA_EnableFifoMode(DMA1, LL_DMA_STREAM_4);

  LL_DMA_SetFIFOThreshold(DMA1, LL_DMA_STREAM_4, LL_DMA_FIFOTHRESHOLD_FULL);

  LL_DMA_SetMemoryBurstxfer(DMA1, LL_DMA_STREAM_4, LL_DMA_MBURST_INC8);

  LL_DMA_SetPeriphBurstxfer(DMA1, LL_DMA_STREAM_4, LL_DMA_PBURST_SINGLE);

  /* SPI2 parameter configuration*/
  SPI_InitStruct.TransferDirection = LL_SPI_FULL_DUPLEX;
  SPI_InitStruct.Mode = LL_SPI_MODE_MASTER;
  SPI_InitStruct.DataWidth = LL_SPI_DATAWIDTH_8BIT;
  SPI_InitStruct.ClockPolarity = LL_SPI_POLARITY_LOW;
  SPI_InitStruct.ClockPhase = LL_SPI_PHASE_1EDGE;
  SPI_InitStruct.NSS = LL_SPI_NSS_SOFT;
  SPI_InitStruct.BaudRate = LL_SPI_BAUDRATEPRESCALER_DIV128;
  SPI_InitStruct.BitOrder = LL_SPI_MSB_FIRST;
  SPI_InitStruct.CRCCalculation = LL_SPI_CRCCALCULATION_DISABLE;
  SPI_InitStruct.CRCPoly = 10;
  LL_SPI_Init(SPI2, &SPI_InitStruct);
  LL_SPI_SetStandard(SPI2, LL_SPI_PROTOCOL_MOTOROLA);

}

static void MX_TIM3_Init(void)
{

  LL_TIM_InitTypeDef TIM_InitStruct = {0};
  LL_TIM_OC_InitTypeDef TIM_OC_InitStruct = {0};

  LL_GPIO_InitTypeDef GPIO_InitStruct = {0};

  /* Peripheral clock enable */
  LL_APB1_GRP1_EnableClock(LL_APB1_GRP1_PERIPH_TIM3);

  TIM_InitStruct.Prescaler = 999;
  TIM_InitStruct.CounterMode = LL_TIM_COUNTERMODE_UP;
  TIM_InitStruct.Autoreload = 210-LL_TIM_IC_FILTER_FDIV1_N2;
  TIM_InitStruct.ClockDivision = LL_TIM_CLOCKDIVISION_DIV1;
  LL_TIM_Init(TIM3, &TIM_InitStruct);
  LL_TIM_DisableARRPreload(TIM3);
  LL_TIM_OC_EnablePreload(TIM3, LL_TIM_CHANNEL_CH1);
  TIM_OC_InitStruct.OCMode = LL_TIM_OCMODE_PWM1;
  TIM_OC_InitStruct.OCState = LL_TIM_OCSTATE_DISABLE;
  TIM_OC_InitStruct.OCNState = LL_TIM_OCSTATE_DISABLE;
  TIM_OC_InitStruct.CompareValue = 105;
  TIM_OC_InitStruct.OCPolarity = LL_TIM_OCPOLARITY_HIGH;
  LL_TIM_OC_Init(TIM3, LL_TIM_CHANNEL_CH1, &TIM_OC_InitStruct);
  LL_TIM_OC_DisableFast(TIM3, LL_TIM_CHANNEL_CH1);
  LL_TIM_SetTriggerOutput(TIM3, LL_TIM_TRGO_RESET);
  LL_TIM_DisableMasterSlaveMode(TIM3);
  LL_AHB1_GRP1_EnableClock(LL_AHB1_GRP1_PERIPH_GPIOC);
  /**TIM3 GPIO Configuration
  PC6   ------> TIM3_CH1
  */
  GPIO_InitStruct.Pin = LCD_BLK_Pin;
  GPIO_InitStruct.Mode = LL_GPIO_MODE_ALTERNATE;
  GPIO_InitStruct.Speed = LL_GPIO_SPEED_FREQ_LOW;
  GPIO_InitStruct.OutputType = LL_GPIO_OUTPUT_PUSHPULL;
  GPIO_InitStruct.Pull = LL_GPIO_PULL_NO;
  GPIO_InitStruct.Alternate = LL_GPIO_AF_2;
  LL_GPIO_Init(LCD_BLK_GPIO_Port, &GPIO_InitStruct);

}

static void MX_TIM4_Init(void)
{

  TIM_MasterConfigTypeDef sMasterConfig = {0};
  TIM_OC_InitTypeDef sConfigOC = {0};

  htim4.Instance = TIM4;
  htim4.Init.Prescaler = 84-1;
  htim4.Init.CounterMode = TIM_COUNTERMODE_UP;
  htim4.Init.Period = 1000-1;
  htim4.Init.ClockDivision = TIM_CLOCKDIVISION_DIV1;
  htim4.Init.AutoReloadPreload = TIM_AUTORELOAD_PRELOAD_DISABLE;
  if (HAL_TIM_PWM_Init(&htim4) != HAL_OK)
  {
    Error_Handler();
  }
  sMasterConfig.MasterOutputTrigger = TIM_TRGO_RESET;
  sMasterConfig.MasterSlaveMode = TIM_MASTERSLAVEMODE_DISABLE;
  if (HAL_TIMEx_MasterConfigSynchronization(&htim4, &sMasterConfig) != HAL_OK)
  {
    Error_Handler();
  }
  sConfigOC.OCMode = TIM_OCMODE_PWM1;
  sConfigOC.Pulse = 0;
  sConfigOC.OCPolarity = TIM_OCPOLARITY_HIGH;
  sConfigOC.OCFastMode = TIM_OCFAST_DISABLE;
  if (HAL_TIM_PWM_ConfigChannel(&htim4, &sConfigOC, TIM_CHANNEL_1) != HAL_OK)
  {
    Error_Handler();
  }
  if (HAL_TIM_PWM_ConfigChannel(&htim4, &sConfigOC, TIM_CHANNEL_2) != HAL_OK)
  {
    Error_Handler();
  }
  if (HAL_TIM_PWM_ConfigChannel(&htim4, &sConfigOC, TIM_CHANNEL_3) != HAL_OK)
  {
    Error_Handler();
  }
  HAL_TIM_MspPostInit(&htim4);

}

static void MX_TIM10_Init(void)
{

  LL_TIM_InitTypeDef TIM_InitStruct = {0};

  /* Peripheral clock enable */
  LL_APB2_GRP1_EnableClock(LL_APB2_GRP1_PERIPH_TIM10);

  /* TIM10 interrupt Init */
  NVIC_SetPriority(TIM1_UP_TIM10_IRQn, NVIC_EncodePriority(NVIC_GetPriorityGrouping(),0, 0));
  NVIC_EnableIRQ(TIM1_UP_TIM10_IRQn);

  TIM_InitStruct.Prescaler = 999;
  TIM_InitStruct.CounterMode = LL_TIM_COUNTERMODE_UP;
  TIM_InitStruct.Autoreload = 420-LL_TIM_IC_FILTER_FDIV1_N2;
  TIM_InitStruct.ClockDivision = LL_TIM_CLOCKDIVISION_DIV1;
  LL_TIM_Init(TIM10, &TIM_InitStruct);
  LL_TIM_DisableARRPreload(TIM10);

}

static void MX_DMA_Init(void)
{

  /* Init with LL driver */
  /* DMA controller clock enable */
  LL_AHB1_GRP1_EnableClock(LL_AHB1_GRP1_PERIPH_DMA2);
  LL_AHB1_GRP1_EnableClock(LL_AHB1_GRP1_PERIPH_DMA1);

  /* DMA interrupt init */
  /* DMA1_Stream3_IRQn interrupt configuration */
  NVIC_SetPriority(DMA1_Stream3_IRQn, NVIC_EncodePriority(NVIC_GetPriorityGrouping(),2, 0));
  NVIC_EnableIRQ(DMA1_Stream3_IRQn);
  /* DMA1_Stream4_IRQn interrupt configuration */
  NVIC_SetPriority(DMA1_Stream4_IRQn, NVIC_EncodePriority(NVIC_GetPriorityGrouping(),2, 0));
  NVIC_EnableIRQ(DMA1_Stream4_IRQn);
  /* DMA2_Stream1_IRQn interrupt configuration */
  HAL_NVIC_SetPriority(DMA2_Stream1_IRQn, 0, 0);
  HAL_NVIC_EnableIRQ(DMA2_Stream1_IRQn);
  /* DMA2_Stream3_IRQn interrupt configuration */
  NVIC_SetPriority(DMA2_Stream3_IRQn, NVIC_EncodePriority(NVIC_GetPriorityGrouping(),3, 0));
  NVIC_EnableIRQ(DMA2_Stream3_IRQn);

}

static void MX_GPIO_Init(void)
{
  LL_GPIO_InitTypeDef GPIO_InitStruct = {0};

  /* GPIO Ports Clock Enable */
  LL_AHB1_GRP1_EnableClock(LL_AHB1_GRP1_PERIPH_GPIOE);
  LL_AHB1_GRP1_EnableClock(LL_AHB1_GRP1_PERIPH_GPIOH);
  LL_AHB1_GRP1_EnableClock(LL_AHB1_GRP1_PERIPH_GPIOA);
  LL_AHB1_GRP1_EnableClock(LL_AHB1_GRP1_PERIPH_GPIOC);
  LL_AHB1_GRP1_EnableClock(LL_AHB1_GRP1_PERIPH_GPIOB);
  LL_AHB1_GRP1_EnableClock(LL_AHB1_GRP1_PERIPH_GPIOD);

  /**/
  LL_GPIO_SetOutputPin(GPIOE, PWDN_CAM_Pin|RST_CAM_Pin);

  /**/
  LL_GPIO_SetOutputPin(GPIOC, LCD_RES_Pin|LCD_DC_Pin);

  /**/
  LL_GPIO_SetOutputPin(GPIOB, LCD_CS_Pin|SD_CS_Pin);

  /**/
  LL_GPIO_SetOutputPin(A4988_EN_1_GPIO_Port, A4988_EN_1_Pin);

  /**/
  LL_GPIO_ResetOutputPin(LIGHTER_GPIO_Port, LIGHTER_Pin);

  /**/
  LL_GPIO_ResetOutputPin(GPIOD, ON_OFF_9V_Pin|A4988_DIR_1_Pin|A4988_STEP_1_Pin|A4988_SLEEP_1_Pin);

  /**/
  LL_GPIO_ResetOutputPin(GPIOB, ON_OFF_OV2640_Pin|IN_TS3A5018_Pin|EN_TS3A5018_Pin|OV_FLASH_Pin
                          |OV2640_OE_Pin);

  /**/
  LL_GPIO_ResetOutputPin(ON_OFF_3V7_1_GPIO_Port, ON_OFF_3V7_1_Pin);

  /**/
  GPIO_InitStruct.Pin = PWDN_CAM_Pin|RST_CAM_Pin;
  GPIO_InitStruct.Mode = LL_GPIO_MODE_OUTPUT;
  GPIO_InitStruct.Speed = LL_GPIO_SPEED_FREQ_VERY_HIGH;
  GPIO_InitStruct.OutputType = LL_GPIO_OUTPUT_PUSHPULL;
  GPIO_InitStruct.Pull = LL_GPIO_PULL_NO;
  LL_GPIO_Init(GPIOE, &GPIO_InitStruct);

  /**/
  GPIO_InitStruct.Pin = END_RACE_Pin;
  GPIO_InitStruct.Mode = LL_GPIO_MODE_INPUT;
  GPIO_InitStruct.Pull = LL_GPIO_PULL_DOWN;
  LL_GPIO_Init(END_RACE_GPIO_Port, &GPIO_InitStruct);

  /**/
  GPIO_InitStruct.Pin = LIGHTER_Pin;
  GPIO_InitStruct.Mode = LL_GPIO_MODE_OUTPUT;
  GPIO_InitStruct.Speed = LL_GPIO_SPEED_FREQ_LOW;
  GPIO_InitStruct.OutputType = LL_GPIO_OUTPUT_PUSHPULL;
  GPIO_InitStruct.Pull = LL_GPIO_PULL_NO;
  LL_GPIO_Init(LIGHTER_GPIO_Port, &GPIO_InitStruct);

  /**/
  GPIO_InitStruct.Pin = LCD_RES_Pin|LCD_DC_Pin;
  GPIO_InitStruct.Mode = LL_GPIO_MODE_OUTPUT;
  GPIO_InitStruct.Speed = LL_GPIO_SPEED_FREQ_HIGH;
  GPIO_InitStruct.OutputType = LL_GPIO_OUTPUT_PUSHPULL;
  GPIO_InitStruct.Pull = LL_GPIO_PULL_NO;
  LL_GPIO_Init(GPIOC, &GPIO_InitStruct);

  /**/
  GPIO_InitStruct.Pin = LCD_CS_Pin|SD_CS_Pin;
  GPIO_InitStruct.Mode = LL_GPIO_MODE_OUTPUT;
  GPIO_InitStruct.Speed = LL_GPIO_SPEED_FREQ_HIGH;
  GPIO_InitStruct.OutputType = LL_GPIO_OUTPUT_PUSHPULL;
  GPIO_InitStruct.Pull = LL_GPIO_PULL_UP;
  LL_GPIO_Init(GPIOB, &GPIO_InitStruct);

  /**/
  GPIO_InitStruct.Pin = KEY_UP_Pin|KEY_DOWN_Pin|KEY_RIGHT_Pin|IN_DRAIN_LATCH1_Pin;
  GPIO_InitStruct.Mode = LL_GPIO_MODE_INPUT;
  GPIO_InitStruct.Pull = LL_GPIO_PULL_UP;
  LL_GPIO_Init(GPIOE, &GPIO_InitStruct);

  /**/
  GPIO_InitStruct.Pin = IN_DRAIN_LATCH2_Pin;
  GPIO_InitStruct.Mode = LL_GPIO_MODE_INPUT;
  GPIO_InitStruct.Pull = LL_GPIO_PULL_UP;
  LL_GPIO_Init(IN_DRAIN_LATCH2_GPIO_Port, &GPIO_InitStruct);

  /**/
  GPIO_InitStruct.Pin = ON_OFF_9V_Pin|A4988_DIR_1_Pin|A4988_EN_1_Pin|A4988_STEP_1_Pin
                          |A4988_SLEEP_1_Pin;
  GPIO_InitStruct.Mode = LL_GPIO_MODE_OUTPUT;
  GPIO_InitStruct.Speed = LL_GPIO_SPEED_FREQ_LOW;
  GPIO_InitStruct.OutputType = LL_GPIO_OUTPUT_PUSHPULL;
  GPIO_InitStruct.Pull = LL_GPIO_PULL_NO;
  LL_GPIO_Init(GPIOD, &GPIO_InitStruct);

  /**/
  GPIO_InitStruct.Pin = LL_GPIO_PIN_15;
  GPIO_InitStruct.Mode = LL_GPIO_MODE_ALTERNATE;
  GPIO_InitStruct.Speed = LL_GPIO_SPEED_FREQ_LOW;
  GPIO_InitStruct.OutputType = LL_GPIO_OUTPUT_PUSHPULL;
  GPIO_InitStruct.Pull = LL_GPIO_PULL_NO;
  GPIO_InitStruct.Alternate = LL_GPIO_AF_6;
  LL_GPIO_Init(GPIOA, &GPIO_InitStruct);

  /**/
  GPIO_InitStruct.Pin = LL_GPIO_PIN_10|LL_GPIO_PIN_12;
  GPIO_InitStruct.Mode = LL_GPIO_MODE_ALTERNATE;
  GPIO_InitStruct.Speed = LL_GPIO_SPEED_FREQ_LOW;
  GPIO_InitStruct.OutputType = LL_GPIO_OUTPUT_PUSHPULL;
  GPIO_InitStruct.Pull = LL_GPIO_PULL_NO;
  GPIO_InitStruct.Alternate = LL_GPIO_AF_6;
  LL_GPIO_Init(GPIOC, &GPIO_InitStruct);

  /**/
  GPIO_InitStruct.Pin = ON_OFF_OV2640_Pin|IN_TS3A5018_Pin|EN_TS3A5018_Pin|OV_FLASH_Pin
                          |OV2640_OE_Pin;
  GPIO_InitStruct.Mode = LL_GPIO_MODE_OUTPUT;
  GPIO_InitStruct.Speed = LL_GPIO_SPEED_FREQ_LOW;
  GPIO_InitStruct.OutputType = LL_GPIO_OUTPUT_PUSHPULL;
  GPIO_InitStruct.Pull = LL_GPIO_PULL_NO;
  LL_GPIO_Init(GPIOB, &GPIO_InitStruct);

  /**/
  GPIO_InitStruct.Pin = ON_OFF_3V7_1_Pin;
  GPIO_InitStruct.Mode = LL_GPIO_MODE_OUTPUT;
  GPIO_InitStruct.Speed = LL_GPIO_SPEED_FREQ_LOW;
  GPIO_InitStruct.OutputType = LL_GPIO_OUTPUT_PUSHPULL;
  GPIO_InitStruct.Pull = LL_GPIO_PULL_NO;
  LL_GPIO_Init(ON_OFF_3V7_1_GPIO_Port, &GPIO_InitStruct);

}

/* USER CODE BEGIN 4 */
//void PWM_set_Freq_DutyCycle(uint16_t freq, uint8_t duty, uint32_t tiempo){
void PWM_set_Freq_DutyCycle(uint32_t canal, uint16_t freq, uint8_t duty){
	uint16_t valor_CCR;

	if(duty > 100) duty = 100;
	freq = HAL_RCC_GetHCLKFreq()/(freq*(htim4.Instance->PSC + 1));//le sumo +1 porque aqui no es la formaula normal de (psc+1)x(ARR+1) sino es mi formula
    HAL_TIM_PWM_Start(&htim4, canal);
	__HAL_TIM_SET_AUTORELOAD(&htim4,freq);//Si quiero cambiar la frecuencia modifico: __HAL_TIM_SET_AUTORELOAD(&htim15, frecuencia que quiero)
	valor_CCR = (__HAL_TIM_GET_AUTORELOAD(&htim4)+1)*duty/100;//__HAL_TIM_GET_AUTORELOAD(&htim15): esto es el valor de 10-1 osea 9, por eso le sumo 1 para volver a tener 10, y por 0.5 ya que quiero 50% del duty cycle
    __HAL_TIM_SET_COMPARE(&htim4, canal, valor_CCR);
    //HAL_Delay(tiempo);
    //HAL_TIM_PWM_Stop(&htim4, canal);
}

void delay_us(uint32_t time){//esta funcion funciona mejor cambie uint16_t  a uint32_t y funciono mejor
	uint32_t delay = time *(HAL_RCC_GetHCLKFreq() / 1000000);
	for(int  i = 0; i < delay; i+=14){
		__ASM("NOP");
	}
}
/* USER CODE END 4 */

void Error_Handler(void)
{
  __disable_irq();
  while (1)
  {
  }
}
